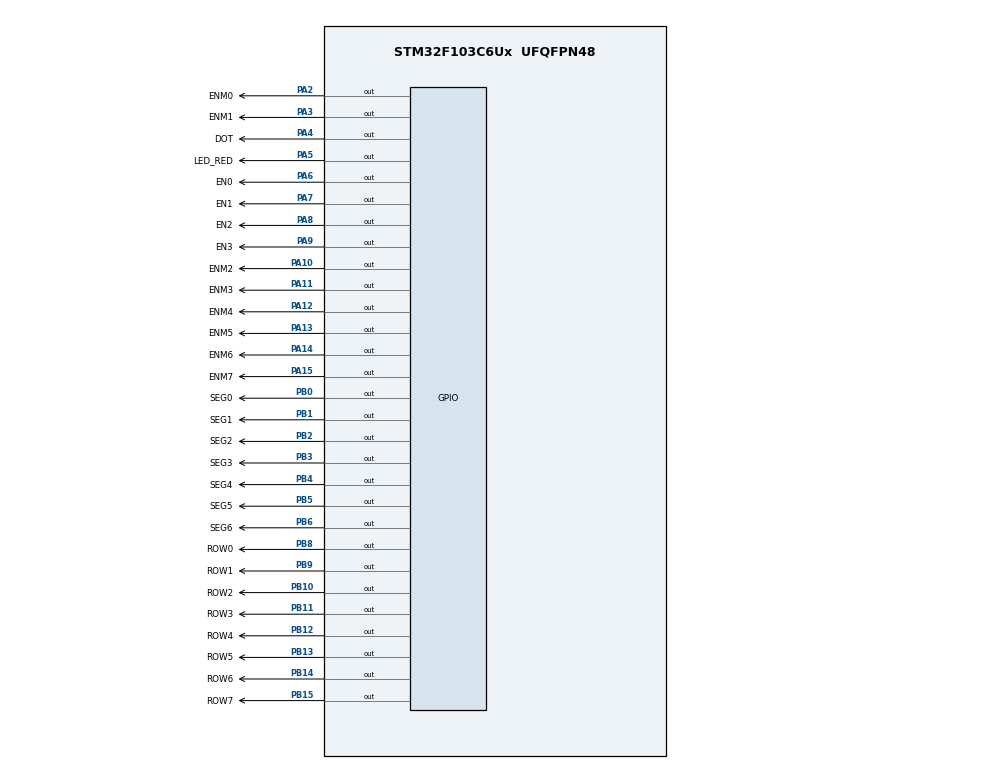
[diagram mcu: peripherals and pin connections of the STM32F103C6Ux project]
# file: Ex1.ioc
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Mcu.Family=STM32F1
Mcu.Name=STM32F103C6Ux
Mcu.Package=UFQFPN48
NVIC.PriorityGroup=NVIC_PRIORITYGROUP_4
NVIC.TIM2_IRQn=true\:0\:0\:false\:false\:true\:true\:true
PA10.GPIO_Label=ENM2
PA10.Signal=GPIO_Output
PA11.GPIO_Label=ENM3
PA11.Signal=GPIO_Output
PA12.GPIO_Label=ENM4
PA12.Signal=GPIO_Output
PA13.GPIO_Label=ENM5
PA13.Signal=GPIO_Output
PA14.GPIO_Label=ENM6
PA14.Signal=GPIO_Output
PA15.GPIO_Label=ENM7
PA15.Signal=GPIO_Output
PA2.GPIO_Label=ENM0
PA2.Signal=GPIO_Output
PA3.GPIO_Label=ENM1
PA3.Signal=GPIO_Output
PA4.GPIO_Label=DOT
PA4.Signal=GPIO_Output
PA5.GPIO_Label=LED_RED
PA5.Signal=GPIO_Output
PA6.GPIO_Label=EN0
PA6.Signal=GPIO_Output
PA7.GPIO_Label=EN1
PA7.Signal=GPIO_Output
PA8.GPIO_Label=EN2
PA8.Signal=GPIO_Output
PA9.GPIO_Label=EN3
PA9.Signal=GPIO_Output
PB0.GPIO_Label=SEG0
PB0.Signal=GPIO_Output
PB1.GPIO_Label=SEG1
PB1.Signal=GPIO_Output
PB10.GPIO_Label=ROW2
PB10.Signal=GPIO_Output
PB11.GPIO_Label=ROW3
PB11.Signal=GPIO_Output
PB12.GPIO_Label=ROW4
PB12.Signal=GPIO_Output
PB13.GPIO_Label=ROW5
PB13.Signal=GPIO_Output
PB14.GPIO_Label=ROW6
PB14.Signal=GPIO_Output
PB15.GPIO_Label=ROW7
PB15.Signal=GPIO_Output
PB2.GPIO_Label=SEG2
PB2.Signal=GPIO_Output
PB3.GPIO_Label=SEG3
PB3.Signal=GPIO_Output
PB4.GPIO_Label=SEG4
PB4.Signal=GPIO_Output
PB5.GPIO_Label=SEG5
PB5.Signal=GPIO_Output
PB6.GPIO_Label=SEG6
PB6.Signal=GPIO_Output
PB8.GPIO_Label=ROW0
PB8.Signal=GPIO_Output
PB9.GPIO_Label=ROW1
PB9.Signal=GPIO_Output
ProjectManager.HeapSize=0x200
ProjectManager.StackSize=0x400
ProjectManager.TargetToolchain=STM32CubeIDE
RCC.APB1Freq_Value=8000000
RCC.APB2Freq_Value=8000000
TIM2.Period=9
TIM2.Prescaler=7999
VP_SYS_VS_ND.Mode=No_Debug
VP_TIM2_VS_ClockSourceINT.Mode=Internal
board=custom

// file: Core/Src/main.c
/* USER CODE BEGIN Header */
/**
  ******************************************************************************
  * @file           : main.c
  * @brief          : Main program body
  ******************************************************************************
  * @attention
  *
  * <h2><center>&copy; Copyright (c) 2023 STMicroelectronics.
  * All rights reserved.</center></h2>
  *
  * This software component is licensed by ST under BSD 3-Clause license,
  * the "License"; You may not use this file except in compliance with the
  * License. You may obtain a copy of the License at:
  *                        opensource.org/licenses/BSD-3-Clause
  *
  ******************************************************************************
  */
/* USER CODE END Header */
#include "main.h"
#include "software_timer.h"

TIM_HandleTypeDef htim2;

void SystemClock_Config(void);
static void MX_GPIO_Init(void);
static void MX_TIM2_Init(void);
/* USER CODE BEGIN PFP */
void clearAll(){
	HAL_GPIO_WritePin(EN0_GPIO_Port, EN0_Pin, SET);
	HAL_GPIO_WritePin(EN1_GPIO_Port, EN1_Pin, SET);
	HAL_GPIO_WritePin(EN2_GPIO_Port, EN2_Pin, SET);
	HAL_GPIO_WritePin(EN3_GPIO_Port, EN3_Pin, SET);
}

void display7SEG(int num){
	switch(num){
		case 1:
			HAL_GPIO_WritePin (GPIOB, GPIO_PIN_0, SET);
			HAL_GPIO_WritePin (GPIOB, GPIO_PIN_1, RESET);
			HAL_GPIO_WritePin (GPIOB, GPIO_PIN_2, RESET);
			HAL_GPIO_WritePin (GPIOB, GPIO_PIN_3, SET);
			HAL_GPIO_WritePin (GPIOB, GPIO_PIN_4, SET);
			HAL_GPIO_WritePin (GPIOB, GPIO_PIN_5, SET);
			HAL_GPIO_WritePin (GPIOB, GPIO_PIN_6, SET);
			break;
		case 2:
			HAL_GPIO_WritePin (GPIOB, GPIO_PIN_0, RESET);
			HAL_GPIO_WritePin (GPIOB, GPIO_PIN_1, RESET);
			HAL_GPIO_WritePin (GPIOB, GPIO_PIN_2, SET);
			HAL_GPIO_WritePin (GPIOB, GPIO_PIN_3, RESET);
			HAL_GPIO_WritePin (GPIOB, GPIO_PIN_4, RESET);
			HAL_GPIO_WritePin (GPIOB, GPIO_PIN_5, SET);
			HAL_GPIO_WritePin (GPIOB, GPIO_PIN_6, RESET);
			break;
		case 3:
			HAL_GPIO_WritePin (GPIOB, GPIO_PIN_0, RESET);
			HAL_GPIO_WritePin (GPIOB, GPIO_PIN_1, RESET);
			HAL_GPIO_WritePin (GPIOB, GPIO_PIN_2, RESET);
			HAL_GPIO_WritePin (GPIOB, GPIO_PIN_3, RESET);
			HAL_GPIO_WritePin (GPIOB, GPIO_PIN_4, SET);
			HAL_GPIO_WritePin (GPIOB, GPIO_PIN_5, SET);
			HAL_GPIO_WritePin (GPIOB, GPIO_PIN_6, RESET);
			break;
		case 4:
			HAL_GPIO_WritePin (GPIOB, GPIO_PIN_0,SET);
			HAL_GPIO_WritePin (GPIOB, GPIO_PIN_1, RESET);
			HAL_GPIO_WritePin (GPIOB, GPIO_PIN_2, RESET);
			HAL_GPIO_WritePin (GPIOB, GPIO_PIN_3, SET);
			HAL_GPIO_WritePin (GPIOB, GPIO_PIN_4, SET);
			HAL_GPIO_WritePin (GPIOB, GPIO_PIN_5, RESET);
			HAL_GPIO_WritePin (GPIOB, GPIO_PIN_6, RESET);
			break;
		case 5:
			HAL_GPIO_WritePin (GPIOB, GPIO_PIN_0, RESET);
			HAL_GPIO_WritePin (GPIOB, GPIO_PIN_1, SET);
			HAL_GPIO_WritePin (GPIOB, GPIO_PIN_2, RESET);
			HAL_GPIO_WritePin (GPIOB, GPIO_PIN_3, RESET);
			HAL_GPIO_WritePin (GPIOB, GPIO_PIN_4, SET);
			HAL_GPIO_WritePin (GPIOB, GPIO_PIN_5, RESET);
			HAL_GPIO_WritePin (GPIOB, GPIO_PIN_6, RESET);
			break;
		case 6:
			HAL_GPIO_WritePin (GPIOB, GPIO_PIN_0, RESET);
			HAL_GPIO_WritePin (GPIOB, GPIO_PIN_1, SET);
			HAL_GPIO_WritePin (GPIOB, GPIO_PIN_2, RESET);
			HAL_GPIO_WritePin (GPIOB, GPIO_PIN_3, RESET);
			HAL_GPIO_WritePin (GPIOB, GPIO_PIN_4, RESET);
			HAL_GPIO_WritePin (GPIOB, GPIO_PIN_5, RESET);
			HAL_GPIO_WritePin (GPIOB, GPIO_PIN_6, RESET);
			break;
		case 7:
			HAL_GPIO_WritePin (GPIOB, GPIO_PIN_0, RESET);
			HAL_GPIO_WritePin (GPIOB, GPIO_PIN_1,RESET);
			HAL_GPIO_WritePin (GPIOB, GPIO_PIN_2, RESET);
			HAL_GPIO_WritePin (GPIOB, GPIO_PIN_3, SET);
			HAL_GPIO_WritePin (GPIOB, GPIO_PIN_4, SET);
			HAL_GPIO_WritePin (GPIOB, GPIO_PIN_5, SET);
			HAL_GPIO_WritePin (GPIOB, GPIO_PIN_6, SET);
			break;
		case 8:
			HAL_GPIO_WritePin (GPIOB, GPIO_PIN_0, RESET);
			HAL_GPIO_WritePin (GPIOB, GPIO_PIN_1, RESET);
			HAL_GPIO_WritePin (GPIOB, GPIO_PIN_2, RESET);
			HAL_GPIO_WritePin (GPIOB, GPIO_PIN_3, RESET);
			HAL_GPIO_WritePin (GPIOB, GPIO_PIN_4, RESET);
			HAL_GPIO_WritePin (GPIOB, GPIO_PIN_5, RESET);
			HAL_GPIO_WritePin (GPIOB, GPIO_PIN_6, RESET);
			break;
		case 9:
			HAL_GPIO_WritePin (GPIOB, GPIO_PIN_0, RESET);
			HAL_GPIO_WritePin (GPIOB, GPIO_PIN_1, RESET);
			HAL_GPIO_WritePin (GPIOB, GPIO_PIN_2,RESET);
			HAL_GPIO_WritePin (GPIOB, GPIO_PIN_3, RESET);
			HAL_GPIO_WritePin (GPIOB, GPIO_PIN_4, SET);
			HAL_GPIO_WritePin (GPIOB, GPIO_PIN_5, RESET);
			HAL_GPIO_WritePin (GPIOB, GPIO_PIN_6, RESET);
			break;
		case 0:
			HAL_GPIO_WritePin (GPIOB, GPIO_PIN_0, RESET);
			HAL_GPIO_WritePin (GPIOB, GPIO_PIN_1, RESET);
			HAL_GPIO_WritePin (GPIOB, GPIO_PIN_2, RESET);
			HAL_GPIO_WritePin (GPIOB, GPIO_PIN_3, RESET);
			HAL_GPIO_WritePin (GPIOB, GPIO_PIN_4, RESET);
			HAL_GPIO_WritePin (GPIOB, GPIO_PIN_5, RESET);
			HAL_GPIO_WritePin (GPIOB, GPIO_PIN_6, SET);
			break;
	}
}

const int MAX_LED_MATRIX=8;
int index_matrix=0;
uint16_t row[8]={ROW0_Pin,ROW1_Pin,ROW2_Pin,ROW3_Pin,ROW4_Pin,ROW5_Pin,ROW6_Pin,ROW7_Pin};
uint16_t col[8]={ENM0_Pin,ENM1_Pin,ENM2_Pin,ENM3_Pin,ENM4_Pin,ENM5_Pin,ENM6_Pin,ENM7_Pin};
uint8_t matrix_buffer[8] = {0x04, 0x08, 0x18, 0x28, 0x28, 0x18, 0x08, 0x04};

void clearLEDMatrix(){
	  for (int i=0; i<8; i++){
		  HAL_GPIO_WritePin(GPIOB,row[i],SET);
		  HAL_GPIO_WritePin(GPIOA,col[i],SET);
	  }
}

void setRow(uint8_t index_buffer){
	  if((index_buffer >> 0) & 0x01)
		  HAL_GPIO_WritePin(ROW0_GPIO_Port, ROW0_Pin, RESET);
	  if((index_buffer >> 1) & 0x01)
		  HAL_GPIO_WritePin(ROW1_GPIO_Port, ROW1_Pin, RESET);
	  if((index_buffer >> 2) & 0x01)
		  HAL_GPIO_WritePin(ROW2_GPIO_Port, ROW2_Pin, RESET);
	  if((index_buffer >> 3) & 0x01)
		  HAL_GPIO_WritePin(ROW3_GPIO_Port, ROW3_Pin, RESET);
	  if((index_buffer >> 4) & 0x01)
		  HAL_GPIO_WritePin(ROW4_GPIO_Port, ROW4_Pin, RESET);
	  if((index_buffer >> 5) & 0x01)
		  HAL_GPIO_WritePin(ROW5_GPIO_Port, ROW5_Pin, RESET);
	  if((index_buffer >> 6) & 0x01)
		  HAL_GPIO_WritePin(ROW6_GPIO_Port, ROW6_Pin, RESET);
	  if((index_buffer >> 7) & 0x01)
		  HAL_GPIO_WritePin(ROW7_GPIO_Port, ROW7_Pin, RESET);
}

void updateLEDMatrix(int index_matrix){
	  clearLEDMatrix();
	  switch(index_matrix){
	  case 0:
		  HAL_GPIO_WritePin(GPIOA, ENM0_Pin, RESET);
		  break;
	  case 1:
		  HAL_GPIO_WritePin(GPIOA, ENM1_Pin, RESET);
		  break;
	  case 2:
		  HAL_GPIO_WritePin(GPIOA, ENM2_Pin, RESET);
		  break;
	  case 3:
		  HAL_GPIO_WritePin(GPIOA, ENM3_Pin, RESET);
		  break;
	  case 4:
		  HAL_GPIO_WritePin(GPIOA, ENM4_Pin, RESET);
		  break;
	  case 5:
		  HAL_GPIO_WritePin(GPIOA, ENM5_Pin, RESET);
		  break;
	  case 6:
		  HAL_GPIO_WritePin(GPIOA, ENM6_Pin, RESET);
		  break;
	  case 7:
		  HAL_GPIO_WritePin(GPIOA, ENM7_Pin, RESET);
		  break;
	  default:
		  break;
	  }
	  setRow(matrix_buffer[index_matrix]);
}
void shift_matrix(uint8_t matrix_buffer[8]){
	  uint8_t temp = matrix_buffer[7];
	  matrix_buffer[7] = matrix_buffer[6];
	  matrix_buffer[6] = matrix_buffer[5];
	  matrix_buffer[5] = matrix_buffer[4];
	  matrix_buffer[4] = matrix_buffer[3];
	  matrix_buffer[3] = matrix_buffer[2];
	  matrix_buffer[2] = matrix_buffer[1];
	  matrix_buffer[1] = matrix_buffer[0];
	  matrix_buffer[0] = temp;
  }

const int MAX_LED = 4;
int index_led = 0;
int led_buffer [4] = {3, 7, 0, 4};
void update7SEG ( int index ){
	clearAll();
	display7SEG(led_buffer[index]);
	switch ( index ){
	case 0:
		// Display the first 7 SEG with led_buffer [0]
		HAL_GPIO_WritePin(EN0_GPIO_Port, EN0_Pin, RESET);
		break ;
	case 1:
		//Display the second 7 SEG with led_buffer [1]
		HAL_GPIO_WritePin(EN1_GPIO_Port, EN1_Pin, RESET);
		break ;
	case 2:
		// Display the third 7 SEG with led_buffer [2]
		HAL_GPIO_WritePin(EN2_GPIO_Port, EN2_Pin, RESET);
		break ;
	case 3:
		HAL_GPIO_WritePin(EN3_GPIO_Port, EN3_Pin, RESET);
		// Display the forth 7 SEG with led_buffer [3]
		break ;
	default :
		break ;
	}
}
int hour = 15, minute = 8, second = 50;
void updateClockBuffer(){
	led_buffer[0] = hour/10;
	led_buffer[1] = hour%10;
	led_buffer[2] = minute/10;
	led_buffer[3] = minute%10;
}
/* USER CODE END PFP */

int main(void)
{

  /* MCU Configuration--------------------------------------------------------*/

  /* Reset of all peripherals, Initializes the Flash interface and the Systick. */
  HAL_Init();

  /* USER CODE BEGIN Init */

  /* Configure the system clock */
  SystemClock_Config();

  /* USER CODE BEGIN SysInit */

  /* USER CODE END Init */

  /* Configure the system clock */
  SystemClock_Config();

  /* USER CODE BEGIN SysInit */

  /* USER CODE END Init */

  /* Configure the system clock */
  SystemClock_Config();

  /* USER CODE BEGIN SysInit */

    /* USER CODE END Init */
  /* USER CODE END SysInit */

  /* Initialize all configured peripherals */
  MX_GPIO_Init();
  MX_TIM2_Init();
  /* USER CODE BEGIN 2 */
  HAL_TIM_Base_Start_IT(&htim2);
  /* USER CODE END 2 */

  /* Infinite loop */
  /* USER CODE BEGIN WHILE */
  setTimer1(25);
  setTimer2(100);
  setTimer3(100);
  //int status = 1;

  while (1)
    {
  	  if (timer1_flag==1){
  		  setTimer1(25);

  		  HAL_GPIO_TogglePin(LED_RED_GPIO_Port, LED_RED_Pin);
  		  update7SEG(index_led++);
  		  if (index_led >= MAX_LED) index_led = 0;
  	  }

  	  if (timer2_flag==1){
  	  		setTimer2(100);

  	  		HAL_GPIO_TogglePin(DOT_GPIO_Port, DOT_Pin);

  	  		second++;
  	  		if (second >= 60){
  	  			second=0;
  	  			minute++;
  	  		}
  	  		if (minute >= 60){
  	  			minute=6;
  	  			hour++;
  	  		}
  	  		if (hour >= 24){
  	  			hour=0;
  	  		}
  	  		updateClockBuffer();

  	  	}

  	  if (timer3_flag==1){
  		  	setTimer3(10);

  		    updateLEDMatrix(index_matrix++);
  		    if (index_matrix >= MAX_LED_MATRIX) {
  			     index_matrix=0;
  				 shift_matrix(matrix_buffer);
  			}
  	  }
      /* USER CODE END WHILE */

      /* USER CODE BEGIN 3 */
    }

      /* USER CODE BEGIN 3 */

  /* USER CODE END 3 */
}

void SystemClock_Config(void)
{
  RCC_OscInitTypeDef RCC_OscInitStruct = {0};
  RCC_ClkInitTypeDef RCC_ClkInitStruct = {0};

  /** Initializes the RCC Oscillators according to the specified parameters
  * in the RCC_OscInitTypeDef structure.
  */
  RCC_OscInitStruct.OscillatorType = RCC_OSCILLATORTYPE_HSI;
  RCC_OscInitStruct.HSIState = RCC_HSI_ON;
  RCC_OscInitStruct.HSICalibrationValue = RCC_HSICALIBRATION_DEFAULT;
  RCC_OscInitStruct.PLL.PLLState = RCC_PLL_NONE;
  if (HAL_RCC_OscConfig(&RCC_OscInitStruct) != HAL_OK)
  {
    Error_Handler();
  }
  /** Initializes the CPU, AHB and APB buses clocks
  */
  RCC_ClkInitStruct.ClockType = RCC_CLOCKTYPE_HCLK|RCC_CLOCKTYPE_SYSCLK
                              |RCC_CLOCKTYPE_PCLK1|RCC_CLOCKTYPE_PCLK2;
  RCC_ClkInitStruct.SYSCLKSource = RCC_SYSCLKSOURCE_HSI;
  RCC_ClkInitStruct.AHBCLKDivider = RCC_SYSCLK_DIV1;
  RCC_ClkInitStruct.APB1CLKDivider = RCC_HCLK_DIV1;
  RCC_ClkInitStruct.APB2CLKDivider = RCC_HCLK_DIV1;

  if (HAL_RCC_ClockConfig(&RCC_ClkInitStruct, FLASH_LATENCY_0) != HAL_OK)
  {
    Error_Handler();
  }
}

static void MX_TIM2_Init(void)
{

  TIM_ClockConfigTypeDef sClockSourceConfig = {0};
  TIM_MasterConfigTypeDef sMasterConfig = {0};

  htim2.Instance = TIM2;
  htim2.Init.Prescaler = 7999;
  htim2.Init.CounterMode = TIM_COUNTERMODE_UP;
  htim2.Init.Period = 9;
  htim2.Init.ClockDivision = TIM_CLOCKDIVISION_DIV1;
  htim2.Init.AutoReloadPreload = TIM_AUTORELOAD_PRELOAD_DISABLE;
  if (HAL_TIM_Base_Init(&htim2) != HAL_OK)
  {
    Error_Handler();
  }
  sClockSourceConfig.ClockSource = TIM_CLOCKSOURCE_INTERNAL;
  if (HAL_TIM_ConfigClockSource(&htim2, &sClockSourceConfig) != HAL_OK)
  {
    Error_Handler();
  }
  sMasterConfig.MasterOutputTrigger = TIM_TRGO_RESET;
  sMasterConfig.MasterSlaveMode = TIM_MASTERSLAVEMODE_DISABLE;
  if (HAL_TIMEx_MasterConfigSynchronization(&htim2, &sMasterConfig) != HAL_OK)
  {
    Error_Handler();
  }

}

static void MX_GPIO_Init(void)
{
  GPIO_InitTypeDef GPIO_InitStruct = {0};

  /* GPIO Ports Clock Enable */
  __HAL_RCC_GPIOA_CLK_ENABLE();
  __HAL_RCC_GPIOB_CLK_ENABLE();

  /*Configure GPIO pin Output Level */
  HAL_GPIO_WritePin(GPIOA, ENM0_Pin|ENM1_Pin|DOT_Pin|LED_RED_Pin
                          |EN0_Pin|EN1_Pin|EN2_Pin|EN3_Pin
                          |ENM2_Pin|ENM3_Pin|ENM4_Pin|ENM5_Pin
                          |ENM6_Pin|ENM7_Pin, GPIO_PIN_RESET);

  /*Configure GPIO pin Output Level */
  HAL_GPIO_WritePin(GPIOB, SEG0_Pin|SEG1_Pin|SEG2_Pin|ROW2_Pin
                          |ROW3_Pin|ROW4_Pin|ROW5_Pin|ROW6_Pin
                          |ROW7_Pin|SEG3_Pin|SEG4_Pin|SEG5_Pin
                          |SEG6_Pin|ROW0_Pin|ROW1_Pin, GPIO_PIN_RESET);

  /*Configure GPIO pins : ENM0_Pin ENM1_Pin DOT_Pin LED_RED_Pin
                           EN0_Pin EN1_Pin EN2_Pin EN3_Pin
                           ENM2_Pin ENM3_Pin ENM4_Pin ENM5_Pin
                           ENM6_Pin ENM7_Pin */
  GPIO_InitStruct.Pin = ENM0_Pin|ENM1_Pin|DOT_Pin|LED_RED_Pin
                          |EN0_Pin|EN1_Pin|EN2_Pin|EN3_Pin
                          |ENM2_Pin|ENM3_Pin|ENM4_Pin|ENM5_Pin
                          |ENM6_Pin|ENM7_Pin;
  GPIO_InitStruct.Mode = GPIO_MODE_OUTPUT_PP;
  GPIO_InitStruct.Pull = GPIO_NOPULL;
  GPIO_InitStruct.Speed = GPIO_SPEED_FREQ_LOW;
  HAL_GPIO_Init(GPIOA, &GPIO_InitStruct);

  /*Configure GPIO pins : SEG0_Pin SEG1_Pin SEG2_Pin ROW2_Pin
                           ROW3_Pin ROW4_Pin ROW5_Pin ROW6_Pin
                           ROW7_Pin SEG3_Pin SEG4_Pin SEG5_Pin
                           SEG6_Pin ROW0_Pin ROW1_Pin */
  GPIO_InitStruct.Pin = SEG0_Pin|SEG1_Pin|SEG2_Pin|ROW2_Pin
                          |ROW3_Pin|ROW4_Pin|ROW5_Pin|ROW6_Pin
                          |ROW7_Pin|SEG3_Pin|SEG4_Pin|SEG5_Pin
                          |SEG6_Pin|ROW0_Pin|ROW1_Pin;
  GPIO_InitStruct.Mode = GPIO_MODE_OUTPUT_PP;
  GPIO_InitStruct.Pull = GPIO_NOPULL;
  GPIO_InitStruct.Speed = GPIO_SPEED_FREQ_LOW;
  HAL_GPIO_Init(GPIOB, &GPIO_InitStruct);

}

/* USER CODE BEGIN 4 */
void HAL_TIM_PeriodElapsedCallback(TIM_HandleTypeDef *htim){
	timerRun();
}
/* USER CODE END 4 */

void Error_Handler(void)
{
  __disable_irq();
  while (1)
  {
  }
}

/************************ (C) COPYRIGHT STMicroelectronics *****END OF FILE****/
